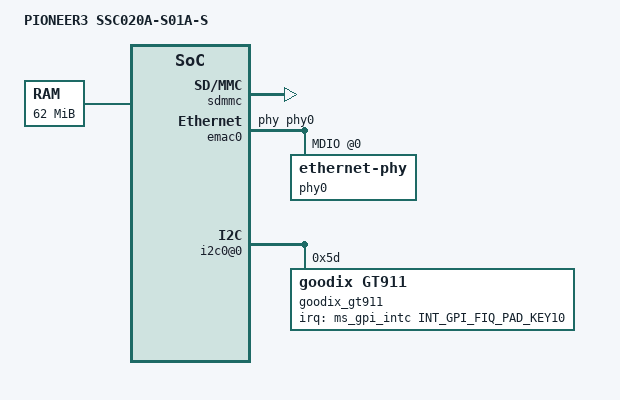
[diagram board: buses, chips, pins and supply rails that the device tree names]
/*
* pioneer3-ssc01xa.dts- Sigmastar
*
* Copyright (c) [2019~2020] SigmaStar Technology.
*
*
* This software is licensed under the terms of the GNU General Public
* License version 2, as published by the Free Software Foundation, and
* may be copied, distributed, and modified under those terms.
*
* This program is distributed in the hope that it will be useful,
* but WITHOUT ANY WARRANTY; without even the implied warranty of
* MERCHANTABILITY or FITNESS FOR A PARTICULAR PURPOSE.  See the
* GNU General Public License version 2 for more details.
*
*/

/dts-v1/;
#include "pioneer3.dtsi"
#include "pioneer3-ssc020a-s01a-padmux.dtsi"

/ {
    model = "PIONEER3 SSC020A-S01A-S";
    compatible = "sstar,pioneer3";

    /* memory setting will be replaced with LX_MEM*/
    memory {
        reg = <0x20000000 0x03E00000>;
    };
	/* this cmdline will be replaced with uboot bootargs*/
    chosen {
        bootargs = "console=ttyS0,115200n8r androidboot.console=ttyS0 root=/dev/mtdblock2 init=/linuxrc cma=16m earlyprintk";
    };

    /*!!IMPORTANT!! The reserved memory must be 1MB aligned*/
    reserved-memory {
        #address-cells = <1>;
        #size-cells = <1>;
        ranges;

        /*cma0 {
            compatible = "shared-dma-pool";
            size = <0x400000>;
            reusable;
            alignment = <0x1000>;
            linux,cma-default;
        };*/
    };
    soc {
            sdmmc {
                compatible = "sstar,sdmmc";
                slot-fakecdzs = <0>,<0>,<0>;
                //QFN128-CFG
                slot-pad-orders = <0>,<0>,<0>;
                slot-cdzs-gpios = <PAD_PM_SD_CDZ>,<0>,<0>;
                slot-pwr-gpios = <PAD_SD_GPIO0>,<0>,<0>;
                slot-sdio-use = <0>,<0>,<0>;
                slot-sdio-rst-delay = <0>,<0>,<0>;
                slot-removable = <1>,<1>,<1>;
            };

            emac0: emac0 {
                compatible = "sstar-emac";
                reg = <0x1F2A2000 0x800>, <0x1F343C00 0x600>, <0x1F006200 0x600>; //for internal phy
                pad = <0x1F2079B8 0x000F 0x0000>;  //for internal phy
                status = "ok";
                phy-handle = <&phy0>;
                mdio-bus {
                    phy0: ethernet-phy@0 {
                        phy-mode = "mii";
                    };
                };
            };

            //for emac0 rmii
/*
            emac0: emac0 {
                compatible = "sstar-emac";
                reg = <0x1F2A2000 0x800>, <0x1F343C00 0x600>, <0x00000000 0x600>; //for external phy
                pad = <0x1F2079B8 0x000F 0x000B>;  //for external phy
                status = "ok";
                phy-handle = <&phy0>;
                mdio-bus {
                    phy0: ethernet-phy@0 {
                        phy-mode = "rmii";
                    };
                };
            };
*/

            i2c0@0{
                compatible = "sstar,i2c";
                goodix_gt911@5D{
                    compatible = "goodix,gt911";
                    reg = <0x5D>;
                    goodix_rst = <PAD_TTL0>;
                    goodix_int = <PAD_KEY10>;
                    interrupts-extended = <&ms_gpi_intc INT_GPI_FIQ_PAD_KEY10>;
                    interrupt-names = "goodix_int";
                };
            };
        };

};
